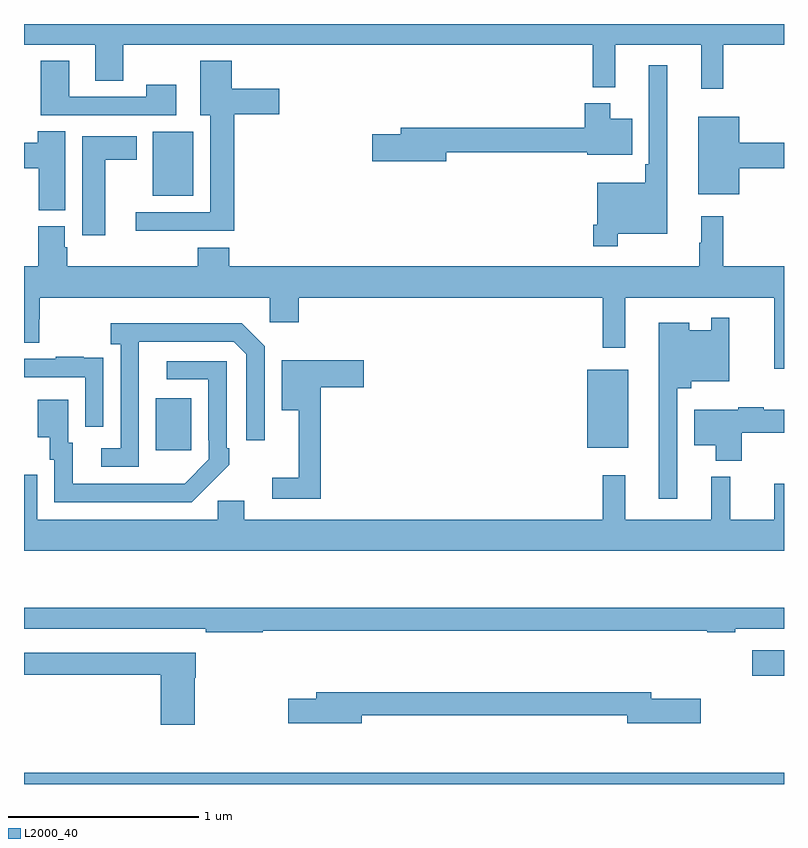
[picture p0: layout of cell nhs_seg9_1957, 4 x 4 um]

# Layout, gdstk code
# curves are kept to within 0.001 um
import gdstk
lib = gdstk.Library(unit=1e-6, precision=1e-09)
def R(c, l, rs):  # rectangles x0, y0, x1, y1
    for r in rs: c.add(gdstk.rectangle(r[:2], r[2:], *l))
def P(c, l, *ps):  # polygons
    for p in ps: c.add(gdstk.Polygon(p, *l))
L2000_40 = (2000, 40)

nhs_seg9_1957 = lib.new_cell('nhs_seg9_1957')
R(nhs_seg9_1957, L2000_40, [(221,1220.5,225,1220.56), (224.832,1221.071,225,1221.205), (221.693,1222.257,221.881,1222.531), (223.964,1222.271,224.179,1222.681), (221.678,1223.597,221.89,1223.932)])
P(nhs_seg9_1957, L2000_40, [(224.681,1224.392),(225,1224.392),(225,1224.5),(221,1224.5),(221,1224.392),(221.375,1224.392),(221.375,1224.202),(221.523,1224.202),(221.523,1224.392),(223.993,1224.392),(223.993,1224.167),(224.111,1224.167),(224.111,1224.392),(224.564,1224.392),(224.564,1224.159),(224.681,1224.159)],
  [(221.8,1224.181),(221.644,1224.181),(221.644,1224.117),(221.239,1224.117),(221.239,1224.307),(221.087,1224.307),(221.087,1224.021),(221.8,1224.021)],
  [(222.107,1224.026),(222.343,1224.026),(222.343,1224.16),(222.094,1224.16),(222.094,1224.307),(221.927,1224.307),(221.927,1224.02),(221.981,1224.02),(221.981,1223.508),(221.589,1223.508),(221.589,1223.411),(222.107,1223.411)],
  [(224.125,1223.396),(224.386,1223.396),(224.386,1224.283),(224.289,1224.283),(224.289,1223.761),(224.269,1223.761),(224.269,1223.665),(224.016,1223.665),(224.016,1223.443),(223.996,1223.443),(223.996,1223.331),(224.125,1223.331)],
  [(223.222,1223.824),(223.964,1223.824),(223.964,1223.813),(224.2,1223.813),(224.2,1224.001),(224.086,1224.001),(224.086,1224.082),(223.952,1224.082),(223.952,1223.953),(222.983,1223.953),(222.983,1223.919),(222.834,1223.919),(222.834,1223.777),(223.222,1223.777)],
  [(224.764,1223.74),(225,1223.74),(225,1223.876),(224.764,1223.876),(224.764,1224.013),(224.549,1224.013),(224.549,1223.603),(224.764,1223.603)],
  [(221.218,1223.936),(221.072,1223.936),(221.072,1223.876),(221,1223.876),(221,1223.74),(221.077,1223.74),(221.077,1223.521),(221.218,1223.521)],
  [(221.428,1223.786),(221.593,1223.786),(221.593,1223.908),(221.306,1223.908),(221.306,1223.388),(221.428,1223.388)],
  [(225,1223.224),(224.681,1223.224),(224.681,1223.488),(224.564,1223.488),(224.564,1223.348),(224.553,1223.348),(224.553,1223.224),(222.08,1223.224),(222.08,1223.323),(221.915,1223.323),(221.915,1223.224),(221.228,1223.224),(221.228,1223.325),(221.215,1223.325),(221.215,1223.436),(221.075,1223.436),(221.075,1223.224),(221,1223.224),(221,1222.822),(221.079,1222.822),(221.079,1222.947),(221.084,1222.947),(221.084,1223.06),(222.294,1223.06),(222.294,1222.929),(222.446,1222.929),(222.446,1223.06),(224.047,1223.06),(224.047,1222.797),(224.164,1222.797),(224.164,1223.06),(224.948,1223.06),(224.948,1222.686),(225,1222.686)],
  [(224.439,1222.583),(224.513,1222.583),(224.513,1222.619),(224.712,1222.619),(224.712,1222.954),(224.616,1222.954),(224.616,1222.888),(224.5,1222.888),(224.5,1222.927),(224.342,1222.927),(224.342,1222.002),(224.439,1222.002)],
  [(221.604,1222.627),(221.605,1222.827),(222.105,1222.827),(222.171,1222.761),(222.171,1222.308),(222.267,1222.308),(222.267,1222.803),(222.146,1222.924),(221.457,1222.924),(221.457,1222.814),(221.508,1222.814),(221.508,1222.266),(221.406,1222.266),(221.406,1222.17),(221.604,1222.17)],
  [(221.418,1222.634),(221.417,1222.634),(221.417,1222.743),(221.315,1222.743),(221.315,1222.75),(221.167,1222.75),(221.167,1222.737),(221,1222.737),(221,1222.641),(221.322,1222.641),(221.322,1222.38),(221.418,1222.38)],
  [(222.563,1222.589),(222.787,1222.589),(222.787,1222.731),(222.356,1222.731),(222.356,1222.466),(222.446,1222.466),(222.446,1222.111),(222.306,1222.111),(222.306,1222.002),(222.563,1222.002)],
  [(221.975,1222.075),(221.976,1222.074),(222.081,1222.179),(222.081,1222.267),(222.066,1222.267),(222.066,1222.725),(221.751,1222.725),(221.751,1222.629),(221.97,1222.629),(221.97,1222.309),(221.973,1222.309),(221.973,1222.209),(221.845,1222.081),(221.257,1222.08),(221.257,1222.296),(221.233,1222.296),(221.233,1222.522),(221.072,1222.522),(221.072,1222.325),(221.135,1222.325),(221.135,1222.206),(221.16,1222.206),(221.16,1221.984),(221.884,1221.984)],
  [(224.777,1222.349),(225,1222.349),(225,1222.471),(224.894,1222.471),(224.894,1222.484),(224.76,1222.484),(224.76,1222.471),(224.528,1222.471),(224.528,1222.283),(224.642,1222.283),(224.642,1222.202),(224.777,1222.202)],
  [(225,1222.081),(224.948,1222.081),(224.948,1221.892),(224.718,1221.892),(224.718,1222.117),(224.618,1222.117),(224.618,1221.892),(224.165,1221.892),(224.165,1222.126),(224.047,1222.126),(224.047,1221.892),(222.16,1221.892),(222.16,1221.99),(222.021,1221.99),(222.021,1221.892),(221.071,1221.892),(221.071,1222.128),(221,1222.128),(221,1221.728),(225,1221.728)],
  [(222.256,1221.306),(224.596,1221.306),(224.596,1221.298),(224.744,1221.298),(224.744,1221.318),(225,1221.318),(225,1221.427),(221,1221.427),(221,1221.318),(221.956,1221.318),(221.956,1221.298),(222.256,1221.298)],
  [(221.898,1221.059),(221.903,1221.059),(221.903,1221.192),(221,1221.192),(221,1221.076),(221.72,1221.076),(221.72,1220.811),(221.898,1220.811)],
  [(222.778,1220.862),(224.174,1220.862),(224.174,1220.819),(224.563,1220.819),(224.563,1220.949),(224.302,1220.949),(224.302,1220.983),(222.539,1220.983),(222.539,1220.949),(222.39,1220.949),(222.39,1220.819),(222.778,1220.819)])

lib.write_gds('nhs_seg9_1957.gds')
